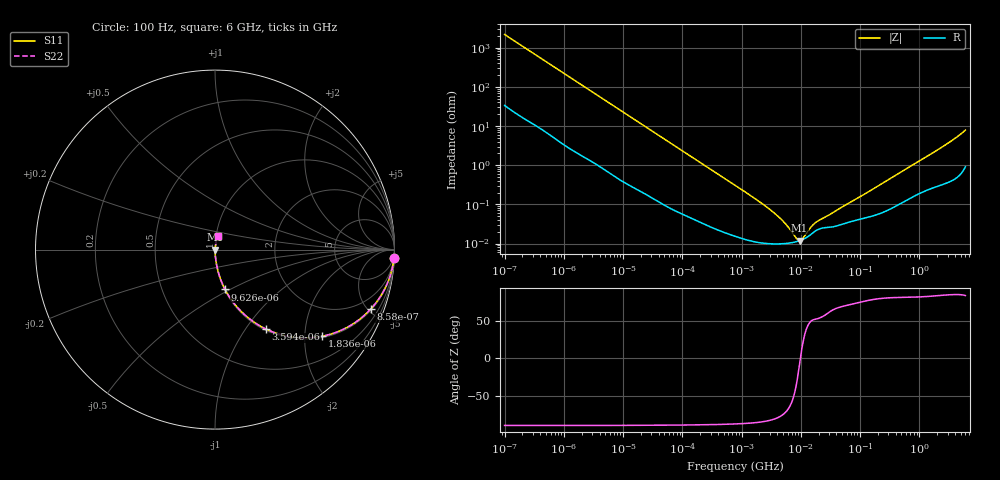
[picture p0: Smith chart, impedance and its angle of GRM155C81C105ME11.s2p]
!Murata Part Number: GRM155C81C105ME11
!These Parameters are Measured in Series Mode Connection
!Data Generated on Mar 30, 2021
!  o--ll--o
!Port1  Port2
!  o------o
!Operation Temp=25[degC], DC Bias Voltage=0[V]
!Freq. Start=100[Hz] Stop=6[GHz] 401[Steps]
# Hz S RI R 50
!Freq.(Hz) S11(Real) S11(Imag) S21(Real) S21(Imag) S12(Real) S12(Imag) S22(Real) S22(Imag)
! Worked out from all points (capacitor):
!   401 points, 100 Hz to 6 GHz, reference 50 ohm
!   read as one part in series: C = 730 nF near 109 Hz
!   lowest |Z| = 12 mohm at 9.506 MHz (marker M1)
!   series resonance near 9.841 MHz, so ESL is about 360 pH
!   S11 on the Smith chart (normalised r, x): 100 Hz: 2, -43; 858 Hz: 1.08, -5.18; 1.836 kHz: 1.04, -2.43; 3.594 kHz: 1.02, -1.25; 9.626 kHz: 1.01, -0.47; 6 GHz: 1.02, +0.16
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100  0.9972 -0.0458  0.00282 0.0458  0.00282 0.0458  0.9972 -0.0458
320  0.9771 -0.1421  0.0229 0.1421  0.0229 0.1421  0.9771 -0.1421
858  0.8664 -0.3328  0.1336 0.3328  0.1336 0.3328  0.8664 -0.3328
1227  0.7636 -0.4174  0.2364 0.4174  0.2364 0.4174  0.7636 -0.4174
1836  0.5954 -0.4831  0.4046 0.4831  0.4046 0.4831  0.5954 -0.4831
2008  0.5527 -0.4895  0.4473 0.4895  0.4473 0.4895  0.5527 -0.4895
3594  0.2848 -0.4431  0.7152 0.4431  0.7152 0.4431  0.2848 -0.4431
5625  0.1432 -0.3422  0.8568 0.3422  0.8568 0.3422  0.1432 -0.3422
9626  0.0561 -0.222  0.9439 0.222  0.9439 0.222  0.0561 -0.222
18841  0.0167 -0.1191  0.9833 0.1191  0.9833 0.1191  0.0167 -0.1191
40335  0.0044 -0.0569  0.9956 0.0569  0.9956 0.0569  0.0044 -0.0569
774597  0.000163 -0.00309  0.9998 0.00309  0.9998 0.00309  0.000163 -0.00309
3712478  9.84e-05 -0.000564  0.9999 0.000564  0.9999 0.000564  9.84e-05 -0.000564
5554849  0.000101 -0.0003  0.9999 0.0003  0.9999 0.0003  0.000101 -0.0003
8311524  0.000111 -8.4e-05  0.9999 8.4e-05  0.9999 8.4e-05  0.000111 -8.4e-05
9506416  0.000118 -1.7e-05  0.9999 1.7e-05  0.9999 1.7e-05  0.000118 -1.7e-05
1.087309e7  0.000128 4.93e-05  0.9999 -4.93e-05  0.9999 -4.93e-05  0.000128 4.93e-05
1.555665e7  0.000182 0.000221  0.9998 -0.000221  0.9998 -0.000221  0.000182 0.000221
1.946e7  0.000229 0.000301  0.9998 -0.000301  0.9998 -0.000301  0.000229 0.000301
3.124326e8  0.00076 0.00439  0.9992 -0.00439  0.9992 -0.00439  0.00076 0.00439
2.240541e9  0.00375 0.0266  0.9962 -0.0266  0.9962 -0.0266  0.00375 0.0266
6e9  0.0149 0.0763  0.9851 -0.0763  0.9851 -0.0763  0.0149 0.0763
